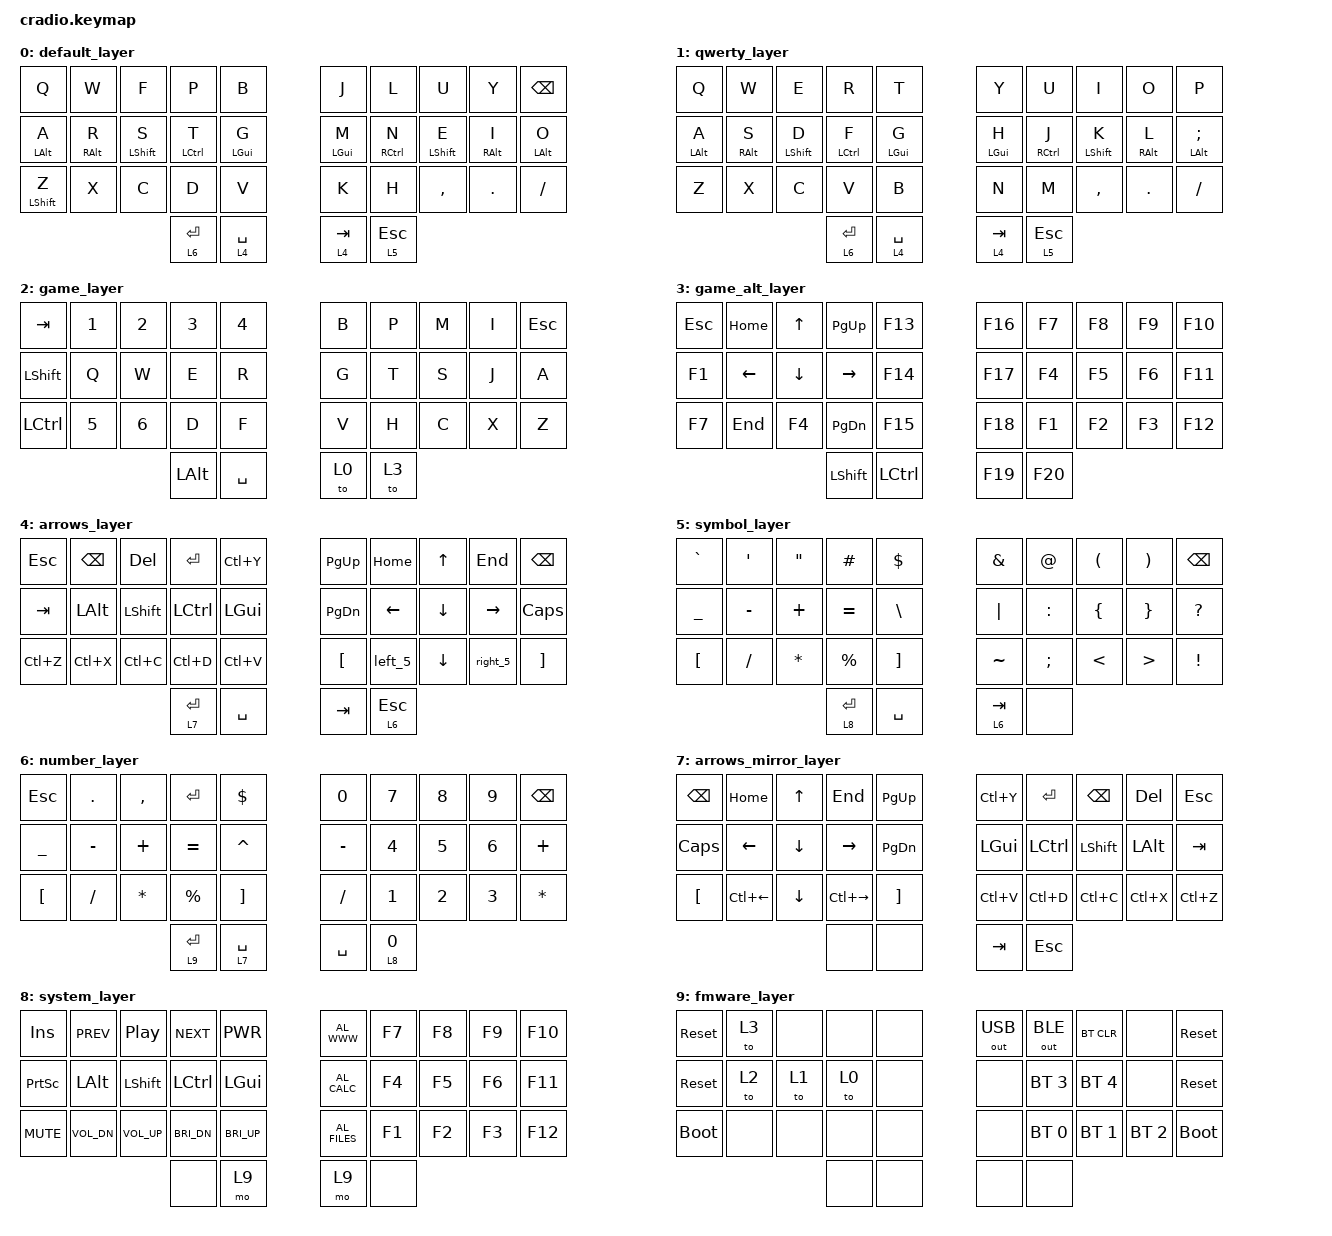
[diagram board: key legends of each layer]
/*
 * Copyright (c) 2020 The ZMK Contributors
 *
 * SPDX-License-Identifier: MIT
 */

#include <behaviors.dtsi>
#include <dt-bindings/zmk/bt.h>
#include <dt-bindings/zmk/keys.h>
#include <dt-bindings/zmk/outputs.h>

// Layer definitions

#define COLMAK 0
#define QWERTY 1
#define GAME 2
#define GAME_ALT 3
#define ARROWS 4
#define SYMBOL 5
#define NUMBER 6
#define ARROWS_MIRROR 7
#define SYSTEM 8
#define FMWARE 9

// -----------------

&mt {
    flavor = "tap-preferred";
    tapping_term_ms = <200>;
};

/ {
    combos {
        compatible = "zmk,combos";

        combo_caps {
            timeout-ms = <50>;
            key-positions = <6 7 8>;
            bindings = <&caps_word>;
        };

        combo_enter {
            timeout-ms = <50>;
            key-positions = <26 27 28>;
            bindings = <&kp ENTER>;
        };

        colemak {
            bindings = <&to 0>;
            key-positions = <20 21 22 23>;
        };
    };

    macros {
        left_5: left_5 {
            compatible = "zmk,behavior-macro";
            #binding-cells = <0>;
            bindings = <&kp LEFT &kp LEFT &kp LEFT &kp LEFT &kp LEFT>;
            label = "LEFT_5";
            wait-ms = <5>;
            tap-ms = <5>;
        };

        right_5: right_5 {
            compatible = "zmk,behavior-macro";
            #binding-cells = <0>;
            bindings = <&kp RIGHT &kp RIGHT &kp RIGHT &kp RIGHT &kp RIGHT>;
            label = "RIGHT_5";
            wait-ms = <5>;
            tap-ms = <5>;
        };
    };

    keymap {
        compatible = "zmk,keymap";

        default_layer {
            // -------------------------------------------------------------------------------------------------------------------
            // |    Q    |    W    |    F    |    P    |    B    |            |    J    |    L    |    U    |    Y    |   BSP   |
            // |    A    |    R    |    S    |    T    |    G    |            |    M    |    N    |    E    |    I    |    O    |
            // |    Z    |    X    |    C    |    D    |    V    |            |    K    |    H    |    ,    |    .    |    /    |
            //                               | NUM/ENT | ARR/SPC |            | ARR/TAB | SYM/ESC |

            bindings = <
&kp Q        &kp W       &kp F        &kp P        &kp B          &kp J       &kp L        &kp U        &kp Y       &kp BSPC
&mt LALT A   &mt RALT R  &mt LSHFT S  &mt LCTRL T  &mt LGUI G     &mt LGUI M  &mt RCTRL N  &mt LSHFT E  &mt RALT I  &mt LALT O
&mt LSHFT Z  &kp X       &kp C        &kp D        &kp V          &kp K       &kp H        &kp COMMA    &kp DOT     &kp SLASH
                                      &lt 6 ENTER  &lt 4 SPACE    &lt 4 TAB   &lt 5 ESC
            >;
        };

        qwerty_layer {
            // ------------------------------------------------------------------------------------------------------------------
            // |    Q    |    W    |    E    |    R    |    T    |            |    Y    |    U    |    I    |    O    |    P    |
            // |    A    |    S    |    D    |    F    |    G    |            |    H    |    J    |    K    |    L    |    ;    |
            // |    Z    |    X    |    C    |    V    |    B    |            |    N    |    M    |    ,    |    .    |    /    |
            //                               | NUM/ENT | ARR/SPC |            | ARR/TAB | SYM/ESC |

            bindings = <
&kp Q       &kp W       &kp E        &kp R        &kp T          &kp Y       &kp U        &kp I        &kp O       &kp P
&mt LALT A  &mt RALT S  &mt LSHFT D  &mt LCTRL F  &mt LGUI G     &mt LGUI H  &mt RCTRL J  &mt LSHFT K  &mt RALT L  &mt LALT SEMI
&kp Z       &kp X       &kp C        &kp V        &kp B          &kp N       &kp M        &kp COMMA    &kp DOT     &kp SLASH
                                     &lt 6 ENTER  &lt 4 SPACE    &lt 4 TAB   &lt 5 ESC
            >;
        };

        game_layer {
            // ------------------------------------------------------------------------------------------------------------------
            // |   TAB   |    1    |    2    |    3    |    4    |            |    B    |    P    |    M    |    I    |   ESC   |
            // |  LSHFT  |    Q    |    W    |    E    |    R    |            |    G    |    T    |    S 	|    J    |    A    |
            // |  LCTRL  |    5    |    6    |    D    |    F    |            |    V    |    H    |    C    |    X    |    Z    |
            //                               |  L_ALT  |  SPACE  |            | COLEMAK | GAME_ALT |

            bindings = <
&kp TAB    &kp N1  &kp N2        &kp N3    &kp NUMBER_4    &kp B  &kp P  &kp M  &kp I  &kp ESC
&kp LSHFT  &kp Q   &kp W         &kp E     &kp R           &kp G  &kp T  &kp S  &kp J  &kp A
&kp LCTRL  &kp N5  &kp NUMBER_6  &kp D     &kp F           &kp V  &kp H  &kp C  &kp X  &kp Z
                                 &kp LALT  &kp SPACE       &to 0  &to 3
            >;
        };

        game_alt_layer {
            // ------------------------------------------------------------------------------------------------------------------
            // |   ESC   |   HOME  |   ⬆   |  PG_UP  |   F13   |            |   F16   |   F7    |   F8    |   F9    |   F10   |
            // |   F1    |    ←    |    ↓   |    →    |   F14   |            |   F17   |   F4    |   F5    |   F6    |   F11   |
            // |   F7    |   END   |   F4   |  PG_DN  |   F15   |            |   F18   |   F1    |   F2    |   F3    |   F12   |
            //                              |  SHIFT  |   CTRL  |            |   F19   |   F20   |

            bindings = <
&kp ESC   &kp HOME  &kp UP    &kp PG_UP  &kp F13      &kp F16  &kp F7   &kp F8  &kp F9  &kp F10
&kp F1    &kp LEFT  &kp DOWN  &kp RIGHT  &kp F14      &kp F17  &kp F4   &kp F5  &kp F6  &kp F11
&kp F7    &kp END   &kp F4    &kp PG_DN  &kp F15      &kp F18  &kp F1   &kp F2  &kp F3  &kp F12
                               &kp LSHFT  &kp LCTRL    &kp F19  &kp F20
            >;
        };

        arrows_layer {
            // ------------------------------------------------------------------------------------------------------------------
            // |   ESC   |   BSPC  |   DEL   |  ENTER  | CTRL Y  |            | PG UP   |   HOME  |    ⬆    |   END   |   BSPC  |
            // |   TAB   |  LALT   |  LSHFT  |  LCTRL  |  LGUI   |            | PG DN   |    ⬅    |    ⬇    |    →    |   CAPS  |
            // | CTRL Z  | CTRL X  | CTRL C  | CTRL D  | CTRL V  |            |    [    |   5  ←  |    ⬇    |   5  →  |    ]    |
            //                               |ARRM/ENTE|  SPACE  |            |   TAB   | NUM/ESC |

            bindings = <
&kp ESC    &kp BSPC   &kp DEL    &kp ENTER    &kp LC(Y)    &kp PG_UP  &kp HOME   &kp UP    &kp END    &kp BSPC
&kp TAB    &kp LALT   &kp LSHFT  &kp LCTRL    &kp LGUI     &kp PG_DN  &kp LEFT   &kp DOWN  &kp RIGHT  &kp CAPS
&kp LC(Z)  &kp LC(X)  &kp LC(C)  &kp LC(D)    &kp LC(V)    &kp LBKT   &left_5    &kp DOWN  &right_5   &kp RBKT
                                 &lt 7 ENTER  &kp SPACE    &kp TAB    &lt 6 ESC
            >;
        };

        symbol_layer {
            // ------------------------------------------------------------------------------------------------------------------
            // |    `    |    '    |    "    |    #    |    $    |            |    &    |    @    |    (    |    )    |   BSPC  |
            // |    _    |    -    |    +    |    =    |    \    |            |    |    |    :    |    {    |    }    |    ?    |
            // |    [    |    /    |    *    |    %    |    ]    |            |    ~    |    ;    |    <    |    >    |    !    |
            //                               | SYS/ENT |  SPACE  |            | NUM/TAB |         | 

            bindings = <
&kp GRAVE       &kp SQT    &kp DQT       &kp HASH     &kp DOLLAR       &kp AMPS   &kp AT_SIGN    &kp LPAR  &kp RPAR  &kp BSPC
&kp UNDERSCORE  &kp MINUS  &kp PLUS      &kp EQUAL    &kp BACKSLASH    &kp PIPE   &kp COLON      &kp LBRC  &kp RBRC  &kp QMARK
&kp LBKT        &kp SLASH  &kp ASTERISK  &kp PERCENT  &kp RBKT         &kp TILDE  &kp SEMICOLON  &kp LT    &kp GT    &kp EXCL
                                         &lt 8 ENTER  &kp SPACE        &lt 6 TAB  &none
            >;
        };

        number_layer {
            // ------------------------------------------------------------------------------------------------------------------
            // |   ESC   |    .    |    ,    |   ENT   |    $    |            |    0    |    7    |    8    |    9    |   BSPC  |
            // |    _    |    -    |    +    |    =    |    ^    |            |    -    |    4    |    5    |    6    |    +    |
            // |    [    |    /    |    *    |    %    |    ]    |            |    /    |    1    |    2    |    3    |    *    |
            //                               | FMW/ENT |ARRM/SPAC|            |  SPACE  |  SYS/0  |

            bindings = <
&kp ESC         &kp DOT    &kp COMMA     &kp ENTER    &kp DOLLAR     &kp N0     &kp N7    &kp N8  &kp N9  &kp BSPC
&kp UNDERSCORE  &kp MINUS  &kp PLUS      &kp EQUAL    &kp CARET      &kp MINUS  &kp N4    &kp N5  &kp N6  &kp PLUS
&kp LBKT        &kp SLASH  &kp ASTERISK  &kp PERCENT  &kp RBKT       &kp SLASH  &kp N1    &kp N2  &kp N3  &kp ASTERISK
                                         &lt 9 ENTER  &lt 7 SPACE    &kp SPACE  &lt 8 N0
            >;
        };

        arrows_mirror_layer {
            // ------------------------------------------------------------------------------------------------------------------
            // |  BSPC   |   HOME  |    ⬆    |   END   |  PG UP  |				| CTRL Y  |  ENTER  |   BSPC  |   DEL   |   ESC   |
            // |  CAPS   |    ⬅    |    ⬇    |    →    |  PG DN  |				|  LGUI   |  LCTRL  |  LSHFT  |  LALT   |   TAB   |
            // |    [    |  CTL ←  |    ⬇    |  CTL →  |    ]    |				| CTRL V  | CTRL D  | CTRL C  | CTRL X  | CTRL Z  |
            // 				                 |         |         |				|   TAB   |   ESC   |

            bindings = <
&kp BSPC  &kp HOME      &kp UP    &kp END        &kp PG_UP    &kp LC(Y)  &kp ENTER  &kp BSPC   &kp DEL    &kp ESC
&kp CAPS  &kp LEFT      &kp DOWN  &kp RIGHT      &kp PG_DN    &kp LGUI   &kp LCTRL  &kp LSHFT  &kp LALT   &kp TAB
&kp LBKT  &kp LC(LEFT)  &kp DOWN  &kp LC(RIGHT)  &kp RBKT     &kp LC(V)  &kp LC(D)  &kp LC(C)  &kp LC(X)  &kp LC(Z)
                                  &none          &none        &kp TAB    &kp ESC
            >;
        };

        system_layer {
            // ------------------------------------------------------------------------------------------------------------------
            // |   INS   |   PREV  |  PAUSE  |   NEXT  |  POWER  |            |   WWW   |   F7    |   F8    |   F9    |   F10   |
            // |  PSCRN  |  LALT   |  LSHFT  |  LCTRL  |  LGUI   |            |  CALC   |   F4    |   F5    |   F6    |   F11   |
            // |   MUTE  | VOL DN  |  VOL UP |  BRI UP | BRI DN  |            |  FILES  |   F1    |   F2    |   F3    |   F12   |
            //                               |         | FMWARE  |            | FMWARE  |         |

            bindings = <
&kp INS     &kp C_PREV    &kp C_PLAY_PAUSE  &kp C_NEXT    &kp C_PWR       &kp C_AL_WWW    &kp F7  &kp F8  &kp F9  &kp F10
&kp PSCRN   &kp LALT      &kp LSHFT         &kp LCTRL     &kp LGUI        &kp C_AL_CALC   &kp F4  &kp F5  &kp F6  &kp F11
&kp C_MUTE  &kp C_VOL_DN  &kp C_VOL_UP      &kp C_BRI_DN  &kp C_BRI_UP    &kp C_AL_FILES  &kp F1  &kp F2  &kp F3  &kp F12
                                            &none         &mo 9           &mo 9           &none
            >;
        };

        fmware_layer {
            // ------------------------------------------------------------------------------------------------------------------
            // |  RESET  |GAME_ALT |         |         |         |            | OUT USB | OUT BT  |BT CLEAR |         |  RESET  |
            // |  RESET  |  GAME   |  QWERTY |  COLMAK |         |            |         |  BT 3   |   BT 4  |         |  RESET  |
            // |  BOOT   |         |         |         |         |            |         |  BT 0   |   BT 1  |   BT 2  |  BOOT   |
            //                               |         |         |            |         |         |

            bindings = <
&sys_reset   &to 3  &none  &none  &none    &out OUT_USB  &out OUT_BLE  &bt BT_CLR    &none         &sys_reset
&sys_reset   &to 2  &to 1  &to 0  &none    &none         &bt BT_SEL 3  &bt BT_SEL 4  &none         &sys_reset
&bootloader  &none  &none  &none  &none    &none         &bt BT_SEL 0  &bt BT_SEL 1  &bt BT_SEL 2  &bootloader
                           &none  &none    &none         &none
            >;
        };
    };
};
